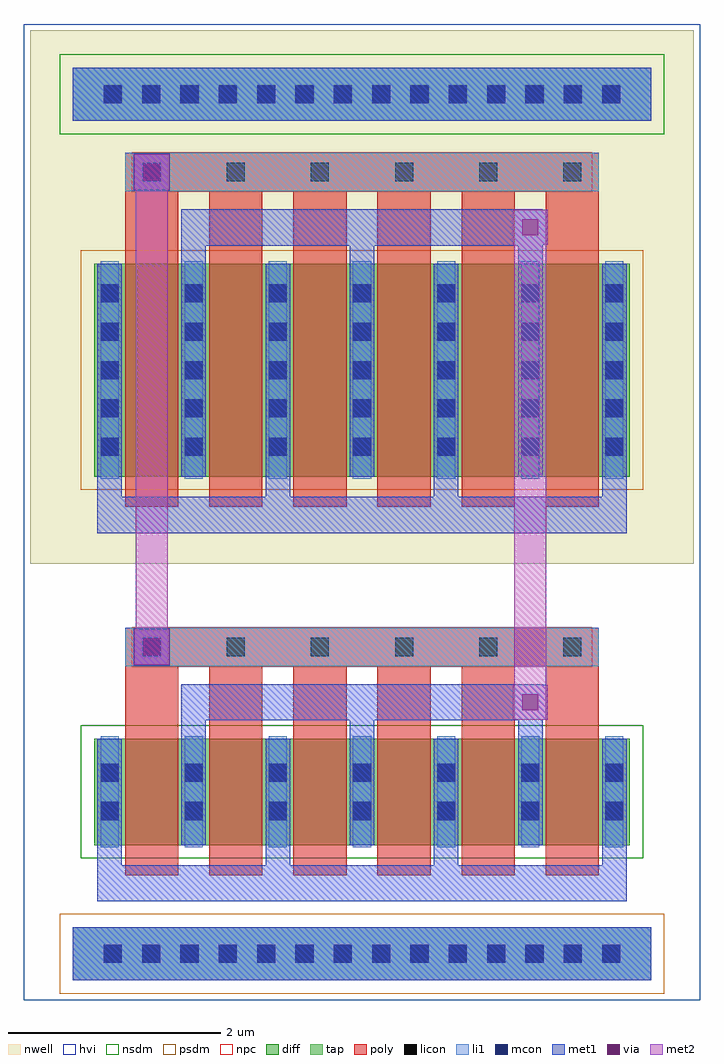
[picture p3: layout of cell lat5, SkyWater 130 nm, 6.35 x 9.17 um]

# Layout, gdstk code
import gdstk
lib = gdstk.Library(unit=1e-6, precision=1e-09)
def R(c, l, rs):  # rectangles x0, y0, x1, y1
    for r in rs: c.add(gdstk.rectangle(r[:2], r[2:], *l))
def A(c, l, x, y, w, h, nx, ny, dx, dy):  # array of equal rectangles
    R(c, l, [(x+i*dx, y+j*dy, x+i*dx+w, y+j*dy+h) for i in range(nx) for j in range(ny)])
def P(c, l, *ps):  # polygons
    for p in ps: c.add(gdstk.Polygon(p, *l))
nwell = (64, 20)
diff = (65, 20)
tap = (65, 44)
poly = (66, 20)
licon = (66, 44)
li1 = (67, 20)
mcon = (67, 44)
met1 = (68, 20)
via = (68, 44)
met2 = (69, 20)
hvi = (75, 20)
nsdm = (93, 44)
psdm = (94, 20)
npc = (95, 20)

lat5 = lib.new_cell('lat5')
R(lat5, nwell, [(-0.4,3.91,5.83,8.92)])
R(lat5, diff, [(0.2,1.27,5.23,2.27), (0.2,4.73,5.23,6.73)])
R(lat5, tap, [(0,0,5.43,0.5), (0,8.07,5.43,8.57)])
A(lat5, poly, 0.49, 0.985, 0.5, 1.57, 6, 1, 0.79, 0)
A(lat5, poly, 0.49, 2.27, 0.5, 0.86, 6, 2, 0.79, 4.46)
A(lat5, poly, 0.49, 4.445, 0.5, 2.57, 6, 1, 0.79, 0)
R(lat5, poly, [(0.49,2.95,4.94,3.31), (0.49,7.41,4.94,7.77)])
A(lat5, licon, 0.29, 0.165, 0.17, 0.17, 14, 2, 0.36, 8.07)
A(lat5, licon, 0.26, 1.505, 0.17, 0.17, 7, 2, 0.79, 0.36)
A(lat5, licon, 0.655, 3.045, 0.17, 0.17, 6, 2, 0.79, 4.46)
A(lat5, licon, 0.26, 4.925, 0.17, 0.17, 7, 5, 0.79, 0.36)
A(lat5, li1, 0.26, 1.25, 0.17, 1.04, 7, 1, 0.79, 0)
A(lat5, li1, 0.26, 4.71, 0.17, 2.04, 7, 1, 0.79, 0)
R(lat5, li1, [(0,0,5.43,0.5), (0.49,2.95,4.94,3.31), (0.49,7.41,4.94,7.77), (0,8.07,5.43,8.57)])
A(lat5, mcon, 0.29, 0.165, 0.17, 0.17, 14, 2, 0.36, 8.07)
A(lat5, mcon, 0.26, 1.505, 0.17, 0.17, 7, 2, 0.79, 0.36)
A(lat5, mcon, 0.26, 4.925, 0.17, 0.17, 7, 5, 0.79, 0.36)
R(lat5, mcon, [(0.655,3.045,0.825,3.215), (0.655,7.505,0.825,7.675)])
A(lat5, met1, 0.23, 0.74, 0.23, 0.53, 4, 2, 1.58, 3.46)
A(lat5, met1, 0.23, 1.27, 0.23, 1, 7, 1, 0.79, 0)
A(lat5, met1, 1.02, 2.27, 0.23, 0.51, 3, 2, 1.58, 4.46)
A(lat5, met1, 0.23, 4.73, 0.23, 2, 7, 1, 0.79, 0)
R(lat5, met1, [(0,0,5.43,0.5), (0.23,0.74,5.2,1.08), (1.02,2.44,4.41,2.78), (4.13,2.445,4.46,2.775), (0.57,2.96,0.91,3.3), (0.575,2.965,0.905,3.295), (0.23,4.2,5.2,4.54), (1.02,6.9,4.41,7.24), (4.13,6.905,4.46,7.235), (0.57,7.42,0.91,7.76), (0.575,7.425,0.905,7.755), (0,8.07,5.43,8.57)])
P(lat5, met1, [(4.295,2.44),(4.295,2.78),(4.295,2.78),(4.295,2.44)],
  [(4.295,6.9),(4.295,7.24),(4.295,7.24),(4.295,6.9)])
R(lat5, via, [(4.22,2.535,4.37,2.685), (0.665,3.055,0.815,3.205), (4.22,6.995,4.37,7.145), (0.665,7.515,0.815,7.665)])
R(lat5, met2, [(4.13,2.445,4.46,2.775), (4.145,2.61,4.445,7.07), (0.575,2.965,0.905,3.295), (0.59,3.13,0.89,7.59), (4.13,6.905,4.46,7.235), (0.575,7.425,0.905,7.755)])
R(lat5, hvi, [(-0.46,-0.185,5.89,8.98)])
R(lat5, nsdm, [(0.075,1.145,5.355,2.395), (-0.125,7.945,5.555,8.695)])
R(lat5, psdm, [(-0.125,-0.125,5.555,0.625), (0.075,4.605,5.355,6.855)])
R(lat5, npc, [(0.555,2.945,4.875,3.315), (0.555,7.405,4.875,7.775)])

lib.write_gds('lat5.gds')
